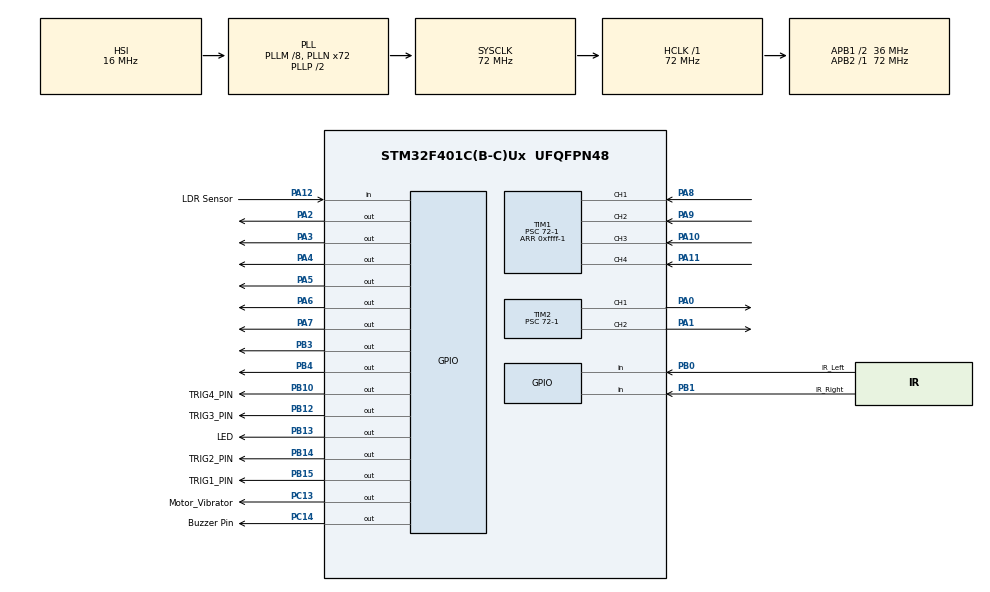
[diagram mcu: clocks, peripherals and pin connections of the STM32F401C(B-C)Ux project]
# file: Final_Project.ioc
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Dma.Request0=TIM2_CH2/CH4
Dma.Request1=TIM2_CH1
Dma.TIM2_CH1.1.Direction=DMA_MEMORY_TO_PERIPH
Dma.TIM2_CH1.1.FIFOMode=DMA_FIFOMODE_DISABLE
Dma.TIM2_CH1.1.Instance=DMA1_Stream5
Dma.TIM2_CH1.1.MemDataAlignment=DMA_MDATAALIGN_WORD
Dma.TIM2_CH1.1.MemInc=DMA_MINC_ENABLE
Dma.TIM2_CH1.1.Mode=DMA_NORMAL
Dma.TIM2_CH1.1.PeriphDataAlignment=DMA_PDATAALIGN_WORD
Dma.TIM2_CH1.1.PeriphInc=DMA_PINC_DISABLE
Dma.TIM2_CH1.1.Priority=DMA_PRIORITY_LOW
Dma.TIM2_CH2/CH4.0.Direction=DMA_MEMORY_TO_PERIPH
Dma.TIM2_CH2/CH4.0.FIFOMode=DMA_FIFOMODE_DISABLE
Dma.TIM2_CH2/CH4.0.Instance=DMA1_Stream6
Dma.TIM2_CH2/CH4.0.MemDataAlignment=DMA_MDATAALIGN_WORD
Dma.TIM2_CH2/CH4.0.MemInc=DMA_MINC_ENABLE
Dma.TIM2_CH2/CH4.0.Mode=DMA_NORMAL
Dma.TIM2_CH2/CH4.0.PeriphDataAlignment=DMA_PDATAALIGN_WORD
Dma.TIM2_CH2/CH4.0.PeriphInc=DMA_PINC_DISABLE
Dma.TIM2_CH2/CH4.0.Priority=DMA_PRIORITY_LOW
Mcu.Family=STM32F4
Mcu.Name=STM32F401C(B-C)Ux
Mcu.Package=UFQFPN48
NVIC.DMA1_Stream5_IRQn=true\:0\:0\:false\:false\:true\:false\:true\:true
NVIC.DMA1_Stream6_IRQn=true\:0\:0\:false\:false\:true\:false\:true\:true
NVIC.PriorityGroup=NVIC_PRIORITYGROUP_4
NVIC.TIM1_CC_IRQn=true\:0\:0\:false\:false\:true\:true\:true\:true
PA0-WKUP.Signal=S_TIM2_CH1_ETR
PA1.Signal=S_TIM2_CH2
PA10.Signal=S_TIM1_CH3
PA11.Signal=S_TIM1_CH4
PA12.GPIO_Label=LDR Sensor
PA12.GPIO_PuPd=GPIO_PULLDOWN
PA12.Signal=GPIO_Input
PA13.Mode=Serial_Wire
PA13.Signal=SYS_JTMS-SWDIO
PA14.Mode=Serial_Wire
PA14.Signal=SYS_JTCK-SWCLK
PA2.Signal=GPIO_Output
PA3.Signal=GPIO_Output
PA4.Signal=GPIO_Output
PA5.Signal=GPIO_Output
PA6.Signal=GPIO_Output
PA7.Signal=GPIO_Output
PA8.Signal=S_TIM1_CH1
PA9.Signal=S_TIM1_CH2
PB0.GPIO_Label=IR_Left
PB0.Signal=GPIO_Input
PB1.GPIO_Label=IR_Right
PB1.Signal=GPIO_Input
PB10.GPIO_Label=TRIG4_PIN
PB10.Signal=GPIO_Output
PB12.GPIO_Label=TRIG3_PIN
PB12.Signal=GPIO_Output
PB13.GPIO_Label=LED
PB13.GPIO_PuPd=GPIO_PULLDOWN
PB13.GPIO_Speed=GPIO_SPEED_FREQ_HIGH
PB13.Signal=GPIO_Output
PB14.GPIO_Label=TRIG2_PIN
PB14.Signal=GPIO_Output
PB15.GPIO_Label=TRIG1_PIN
PB15.Signal=GPIO_Output
PB3.Signal=GPIO_Output
PB4.Signal=GPIO_Output
PC13-ANTI_TAMP.GPIO_Label=Motor_Vibrator
PC13-ANTI_TAMP.Signal=GPIO_Output
PC14-OSC32_IN.GPIO_Label=Buzzer Pin
PC14-OSC32_IN.Signal=GPIO_Output
ProjectManager.HeapSize=0x200
ProjectManager.StackSize=0x400
ProjectManager.TargetToolchain=STM32CubeIDE
RCC.48MHZClocksFreq_Value=36000000
RCC.AHBFreq_Value=72000000
RCC.APB1CLKDivider=RCC_HCLK_DIV2
RCC.APB1Freq_Value=36000000
RCC.APB1TimFreq_Value=72000000
RCC.APB2Freq_Value=72000000
RCC.APB2TimFreq_Value=72000000
RCC.CortexFreq_Value=72000000
RCC.HCLKFreq_Value=72000000
RCC.HSE_VALUE=25000000
RCC.HSI_VALUE=16000000
RCC.LSE_VALUE=32768
RCC.PLLM=8
RCC.PLLN=72
RCC.SYSCLKFreq_VALUE=72000000
RCC.SYSCLKSource=RCC_SYSCLKSOURCE_PLLCLK
RCC.VCOOutputFreq_Value=144000000
SH.S_TIM1_CH1.0=TIM1_CH1,Input_Capture1_from_TI1
SH.S_TIM1_CH2.0=TIM1_CH2,Input_Capture2_from_TI2
SH.S_TIM1_CH3.0=TIM1_CH3,Input_Capture3_from_TI3
SH.S_TIM1_CH4.0=TIM1_CH4,Input_Capture4_from_TI4
SH.S_TIM2_CH1_ETR.0=TIM2_CH1,PWM Generation1 CH1
SH.S_TIM2_CH2.0=TIM2_CH2,PWM Generation2 CH2
TIM1.Channel-Input_Capture1_from_TI1=TIM_CHANNEL_1
TIM1.Channel-Input_Capture2_from_TI2=TIM_CHANNEL_2
TIM1.Channel-Input_Capture3_from_TI3=TIM_CHANNEL_3
TIM1.Channel-Input_Capture4_from_TI4=TIM_CHANNEL_4
TIM1.Period=0xffff-1
TIM1.Prescaler=72-1
TIM2.AutoReloadPreload=TIM_AUTORELOAD_PRELOAD_ENABLE
TIM2.Channel-PWM\ Generation1\ CH1=TIM_CHANNEL_1
TIM2.Channel-PWM\ Generation2\ CH2=TIM_CHANNEL_2
TIM2.Period=100-1
TIM2.Prescaler=72-1
VP_TIM1_VS_ClockSourceINT.Mode=Internal
VP_TIM2_VS_ClockSourceINT.Mode=Internal
board=custom

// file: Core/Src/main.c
/* USER CODE BEGIN Header */
/**
 ******************************************************************************
 * @file           : main.c
 * @brief          : Main program body
 ******************************************************************************
 * @attention
 *
 * Copyright (c) 2024 STMicroelectronics.
 * All rights reserved.
 *
 * This software is licensed under terms that can be found in the LICENSE file
 * in the root directory of this software component.
 * If no LICENSE file comes with this software, it is provided AS-IS.
 *
 ******************************************************************************
 */
/* USER CODE END Header */
#include "main.h"
#include "dma.h"
#include "tim.h"
#include "gpio.h"

/* USER CODE BEGIN Includes */
#include "../HAL/LDR_Sensor/LDR_Sensor_interface.h"
#include "../HAL/Motors/MotorDriver_Interface.h"
#include "../HAL/Motor_Vibrator/Motor_Vibrator_Interface.h"
#include "../HAL/Ultrasonic_Sensor/Ultrasonic_Interface.h"
#include "../Application/LaneDepartureWarning/LaneDepartureWarning_Interface.h"
#include "../Application/LaneKeepingAssistSystem/LKS_Interface.h"
/* USER CODE END Includes */

void SystemClock_Config(void);

int main(void)
{

	/* MCU Configuration--------------------------------------------------------*/

	/* Reset of all peripherals, Initializes the Flash interface and the Systick. */
	HAL_Init();

	/* Configure the system clock */
	SystemClock_Config();

	/* USER CODE BEGIN SysInit */

	// int32_t CH2_DC = 0;
	/* USER CODE END SysInit */

	/* Initialize all configured peripherals */
	MX_GPIO_Init();
	MX_DMA_Init();
	MX_TIM2_Init();
	MX_TIM1_Init();
	/* USER CODE BEGIN 2 */
	HAL_TIM_PWM_Start(&htim2, TIM_CHANNEL_2); // Start PWM for TIM2 CH2
	HAL_TIM_PWM_Start(&htim2, TIM_CHANNEL_1); // Start PWM for TIM2 CH1
	// HAL_TIM_PWM_Start(&htim2, TIM_CHANNEL_3); // Start PWM for TIM2 CH3
	HAL_TIM_IC_Start_IT(&htim1, TIM_CHANNEL_1); // Start input capture with interrupts for TIM1 CH1
	HAL_TIM_IC_Start_IT(&htim1, TIM_CHANNEL_2); // Start input capture with interrupts for TIM1 CH2
	HAL_TIM_IC_Start_IT(&htim1, TIM_CHANNEL_3); // Start input capture with interrupts for TIM1 CH3
	HAL_TIM_IC_Start_IT(&htim1, TIM_CHANNEL_4); // Start input capture with interrupts for TIM1 CH4

	/* USER CODE END 2 */

	/* Infinite loop */
	/* USER CODE BEGIN WHILE */
	while (1)
	{
		/*APP_LKS_vTask();
		LDW_LeftIRCallBack();*/
		HCSR04_Read1();
		HAL_Delay(20);
		//MotorDriver_voidMoveForward(95);
		/*HCSR04_Read2();
		HAL_Delay(20);
		HCSR04_Read3();
		HAL_Delay(20);
		HCSR04_Read4();
		HAL_Delay(20);*/
		voidLDR_Sensor();
		//if(Dis)
		//Mvoid_Motor_Vibrator();

		/*MotorDriver_voidMoveForward(85);
		HAL_Delay(1000);
		MotorDriver_voidMoveBackward(85);
		HAL_Delay(1000);
		MotorDriver_voidMoveRight(85);
		HAL_Delay(1000);
		MotorDriver_voidMoveLeft(85);
		HAL_Delay(1000);*/

		/* USER CODE END WHILE */

	}
}

void SystemClock_Config(void)
{
	RCC_OscInitTypeDef RCC_OscInitStruct = {0};
	RCC_ClkInitTypeDef RCC_ClkInitStruct = {0};

	/** Configure the main internal regulator output voltage
	 */
	__HAL_RCC_PWR_CLK_ENABLE();
	__HAL_PWR_VOLTAGESCALING_CONFIG(PWR_REGULATOR_VOLTAGE_SCALE2);

	/** Initializes the RCC Oscillators according to the specified parameters
	 * in the RCC_OscInitTypeDef structure.
	 */
	RCC_OscInitStruct.OscillatorType = RCC_OSCILLATORTYPE_HSI;
	RCC_OscInitStruct.HSIState = RCC_HSI_ON;
	RCC_OscInitStruct.HSICalibrationValue = RCC_HSICALIBRATION_DEFAULT;
	RCC_OscInitStruct.PLL.PLLState = RCC_PLL_ON;
	RCC_OscInitStruct.PLL.PLLSource = RCC_PLLSOURCE_HSI;
	RCC_OscInitStruct.PLL.PLLM = 8;
	RCC_OscInitStruct.PLL.PLLN = 72;
	RCC_OscInitStruct.PLL.PLLP = RCC_PLLP_DIV2;
	RCC_OscInitStruct.PLL.PLLQ = 4;
	if (HAL_RCC_OscConfig(&RCC_OscInitStruct) != HAL_OK)
	{
		Error_Handler();
	}

	/** Initializes the CPU, AHB and APB buses clocks
	 */
	RCC_ClkInitStruct.ClockType = RCC_CLOCKTYPE_HCLK|RCC_CLOCKTYPE_SYSCLK
			|RCC_CLOCKTYPE_PCLK1|RCC_CLOCKTYPE_PCLK2;
	RCC_ClkInitStruct.SYSCLKSource = RCC_SYSCLKSOURCE_PLLCLK;
	RCC_ClkInitStruct.AHBCLKDivider = RCC_SYSCLK_DIV1;
	RCC_ClkInitStruct.APB1CLKDivider = RCC_HCLK_DIV2;
	RCC_ClkInitStruct.APB2CLKDivider = RCC_HCLK_DIV1;

	if (HAL_RCC_ClockConfig(&RCC_ClkInitStruct, FLASH_LATENCY_2) != HAL_OK)
	{
		Error_Handler();
	}
}

void Error_Handler(void)
{
	__disable_irq();
	while (1)
	{
	}
}
